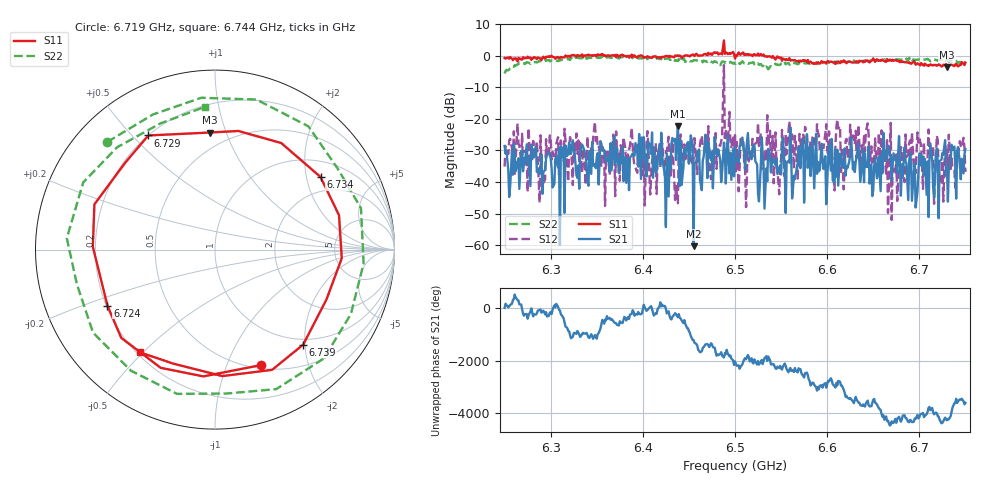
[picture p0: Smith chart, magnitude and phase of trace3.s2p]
# Hz S RI R 50
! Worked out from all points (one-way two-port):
!   401 points, 6.25 GHz to 6.75 GHz, reference 50 ohm
!   highest |S21| = -22.31 dB at 6.438 GHz (marker M1); lowest = -60.3 dB at 6.455 GHz (marker M2)
!   lowest |S11| = -3.7 dB at 6.73 GHz (marker M3), VSWR 4.76, Z = 19.3 + j43.9 ohm
!   |S11| at or under -10 dB: nowhere
!   |S22| runs from -5.6 to -0.1 dB; largest |S21 - S12| = 0.69
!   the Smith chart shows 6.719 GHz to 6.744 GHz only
!   S11 on the Smith chart (normalised r, x): 6.719 GHz: 0.54, -1.33; 6.724 GHz: 0.20, -0.24; 6.729 GHz: 0.20, +0.56; 6.734 GHz: 1.47, +2.43; 6.739 GHz: 0.89, -1.96; 6.744 GHz: 0.21, -0.49
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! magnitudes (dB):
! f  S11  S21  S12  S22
! 6.25 GHz  -0.8  -28.6  -35.1  -5.6
! 6.312 GHz  -0.5  -32.2  -29.5  -1.3
! 6.334 GHz  0.4  -28.1  -37.0  -0.8
! 6.418 GHz  -0.7  -28.0  -28.3  -1.1
! 6.425 GHz  0.0  -54.2  -30.3  -1.0
! 6.438 GHz  0.1  -22.3  -46.7  -1.7
! 6.441 GHz  -0.1  -26.9  -24.9  -1.9
! 6.455 GHz  0.3  -60.3  -33.3  -1.5
! 6.488 GHz  4.8  -27.5  -3.0  -1.9
! 6.5 GHz  -0.9  -28.8  -25.1  -2.5
! 6.548 GHz  -0.8  -35.5  -43.9  -3.0
! 6.584 GHz  -2.5  -26.3  -25.9  -2.8
! 6.642 GHz  -1.6  -35.2  -24.1  -1.7
! 6.668 GHz  -1.3  -31.2  -31.8  -1.5
! 6.719 GHz  -3.2  -29.4  -25.3  -1.4
! 6.724 GHz  -3.4  -32.9  -40.8  -1.3
! 6.729 GHz  -2.7  -38.0  -33.4  -1.5
! 6.73 GHz  -3.7  -35.5  -29.8  -1.3
! 6.734 GHz  -2.9  -33.0  -35.9  -1.6
! 6.739 GHz  -2.8  -34.5  -41.8  -1.6
! 6.744 GHz  -3.0  -33.8  -27.0  -2.0
! 6.75 GHz  -2.2  -29.5  -36.8  -2.1
